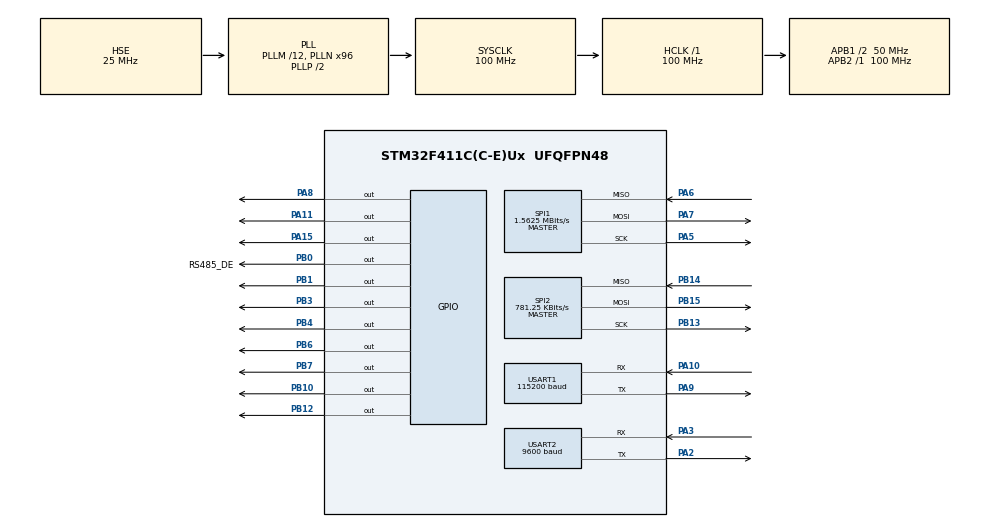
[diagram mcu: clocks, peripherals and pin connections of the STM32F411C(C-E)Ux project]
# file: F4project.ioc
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Dma.Request0=USART1_RX
Dma.Request1=USART1_TX
Dma.USART1_RX.0.Direction=DMA_PERIPH_TO_MEMORY
Dma.USART1_RX.0.FIFOMode=DMA_FIFOMODE_DISABLE
Dma.USART1_RX.0.Instance=DMA2_Stream2
Dma.USART1_RX.0.MemDataAlignment=DMA_MDATAALIGN_BYTE
Dma.USART1_RX.0.MemInc=DMA_MINC_ENABLE
Dma.USART1_RX.0.Mode=DMA_NORMAL
Dma.USART1_RX.0.PeriphDataAlignment=DMA_PDATAALIGN_BYTE
Dma.USART1_RX.0.PeriphInc=DMA_PINC_DISABLE
Dma.USART1_RX.0.Priority=DMA_PRIORITY_LOW
Dma.USART1_TX.1.Direction=DMA_MEMORY_TO_PERIPH
Dma.USART1_TX.1.FIFOMode=DMA_FIFOMODE_DISABLE
Dma.USART1_TX.1.Instance=DMA2_Stream7
Dma.USART1_TX.1.MemDataAlignment=DMA_MDATAALIGN_BYTE
Dma.USART1_TX.1.MemInc=DMA_MINC_ENABLE
Dma.USART1_TX.1.Mode=DMA_NORMAL
Dma.USART1_TX.1.PeriphDataAlignment=DMA_PDATAALIGN_BYTE
Dma.USART1_TX.1.PeriphInc=DMA_PINC_DISABLE
Dma.USART1_TX.1.Priority=DMA_PRIORITY_LOW
FREERTOS.Tasks01=defaultTask,24,128,StartDefaultTask,Default,NULL,Dynamic,NULL,NULL
Mcu.Family=STM32F4
Mcu.Name=STM32F411C(C-E)Ux
Mcu.Package=UFQFPN48
NVIC.DMA2_Stream2_IRQn=true\:5\:0\:false\:false\:true\:true\:false\:true\:true
NVIC.DMA2_Stream7_IRQn=true\:5\:0\:false\:false\:true\:true\:false\:true\:true
NVIC.PriorityGroup=NVIC_PRIORITYGROUP_4
NVIC.TIM3_IRQn=true\:5\:0\:false\:false\:true\:true\:true\:true\:true
NVIC.TIM4_IRQn=true\:15\:0\:false\:false\:true\:false\:false\:true\:true
NVIC.TimeBase=TIM4_IRQn
NVIC.TimeBaseIP=TIM4
NVIC.USART1_IRQn=true\:5\:0\:false\:false\:true\:true\:true\:true\:true
NVIC.USART2_IRQn=true\:5\:0\:false\:false\:true\:true\:true\:true\:true
PA10.Mode=Asynchronous
PA10.Signal=USART1_RX
PA11.Signal=GPIO_Output
PA13.Mode=Serial_Wire
PA13.Signal=SYS_JTMS-SWDIO
PA14.Mode=Serial_Wire
PA14.Signal=SYS_JTCK-SWCLK
PA15.Signal=GPIO_Output
PA2.Mode=Asynchronous
PA2.Signal=USART2_TX
PA3.Mode=Asynchronous
PA3.Signal=USART2_RX
PA5.Mode=Full_Duplex_Master
PA5.Signal=SPI1_SCK
PA6.Mode=Full_Duplex_Master
PA6.Signal=SPI1_MISO
PA7.Mode=Full_Duplex_Master
PA7.Signal=SPI1_MOSI
PA8.Signal=GPIO_Output
PA9.GPIO_PuPd=GPIO_PULLUP
PA9.Mode=Asynchronous
PA9.Signal=USART1_TX
PB0.GPIO_Label=RS485_DE
PB0.Signal=GPIO_Output
PB1.Signal=GPIO_Output
PB10.GPIO_ModeDefaultOutputPP=GPIO_MODE_OUTPUT_PP
PB10.GPIO_PuPd=GPIO_NOPULL
PB10.PinState=GPIO_PIN_SET
PB10.Signal=GPIO_Output
PB12.PinState=GPIO_PIN_SET
PB12.Signal=GPIO_Output
PB13.Mode=Full_Duplex_Master
PB13.Signal=SPI2_SCK
PB14.Mode=Full_Duplex_Master
PB14.Signal=SPI2_MISO
PB15.Mode=Full_Duplex_Master
PB15.Signal=SPI2_MOSI
PB3.PinState=GPIO_PIN_SET
PB3.Signal=GPIO_Output
PB4.PinState=GPIO_PIN_SET
PB4.Signal=GPIO_Output
PB6.GPIO_ModeDefaultOutputPP=GPIO_MODE_OUTPUT_PP
PB6.GPIO_PuPd=GPIO_NOPULL
PB6.PinState=GPIO_PIN_SET
PB6.Signal=GPIO_Output
PB7.GPIO_ModeDefaultOutputPP=GPIO_MODE_OUTPUT_PP
PB7.GPIO_PuPd=GPIO_NOPULL
PB7.PinState=GPIO_PIN_SET
PB7.Signal=GPIO_Output
PH0\ -\ OSC_IN.Mode=HSE-External-Oscillator
PH0\ -\ OSC_IN.Signal=RCC_OSC_IN
PH1\ -\ OSC_OUT.Mode=HSE-External-Oscillator
PH1\ -\ OSC_OUT.Signal=RCC_OSC_OUT
ProjectManager.HeapSize=0x200
ProjectManager.StackSize=0x400
ProjectManager.TargetToolchain=MDK-ARM V5.32
RCC.48MHZClocksFreq_Value=50000000
RCC.AHBFreq_Value=100000000
RCC.APB1CLKDivider=RCC_HCLK_DIV2
RCC.APB1Freq_Value=50000000
RCC.APB1TimFreq_Value=100000000
RCC.APB2Freq_Value=100000000
RCC.APB2TimFreq_Value=100000000
RCC.CortexFreq_Value=100000000
RCC.HCLKFreq_Value=100000000
RCC.HSE_VALUE=25000000
RCC.HSI_VALUE=16000000
RCC.LSE_VALUE=32768
RCC.PLLM=12
RCC.PLLN=96
RCC.PLLSourceVirtual=RCC_PLLSOURCE_HSE
RCC.SYSCLKFreq_VALUE=100000000
RCC.SYSCLKSource=RCC_SYSCLKSOURCE_PLLCLK
RCC.VCOOutputFreq_Value=200000000
SPI1.BaudRatePrescaler=SPI_BAUDRATEPRESCALER_64
SPI1.CalculateBaudRate=1.5625 MBits/s
SPI1.Direction=SPI_DIRECTION_2LINES
SPI1.Mode=SPI_MODE_MASTER
SPI1.VirtualType=VM_MASTER
SPI2.BaudRatePrescaler=SPI_BAUDRATEPRESCALER_64
SPI2.CalculateBaudRate=781.25 KBits/s
SPI2.Direction=SPI_DIRECTION_2LINES
SPI2.Mode=SPI_MODE_MASTER
SPI2.VirtualType=VM_MASTER
TIM3.Period=1000-1
TIM3.Prescaler=100-1
USART1.BaudRate=115200
USART1.VirtualMode=VM_ASYNC
USART2.BaudRate=9600
USART2.VirtualMode=VM_ASYNC
VP_FREERTOS_VS_CMSIS_V2.Mode=CMSIS_V2
VP_SYS_VS_tim4.Mode=TIM4
VP_TIM3_VS_ClockSourceINT.Mode=Internal
board=custom

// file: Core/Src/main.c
/* USER CODE BEGIN Header */
/**
  ******************************************************************************
  * @file           : main.c
  * @brief          : Main program body
  ******************************************************************************
  * @attention
  *
  * Copyright (c) 2026 STMicroelectronics.
  * All rights reserved.
  *
  * This software is licensed under terms that can be found in the LICENSE file
  * in the root directory of this software component.
  * If no LICENSE file comes with this software, it is provided AS-IS.
  *
  ******************************************************************************
  */
/* USER CODE END Header */
#include "main.h"
#include "cmsis_os.h"
#include "dma.h"
#include "spi.h"
#include "tim.h"
#include "usart.h"
#include "gpio.h"

/* USER CODE BEGIN Includes */
#include "lcd.h"
#include "touch.h"
#include "stdio.h"
#include "string.h"
#include "lvgl.h"
#include "lv_port_disp.h"
#include "lv_port_indev.h"
#include "page_main.h"
#include "modbus.h"
#include "command.h"
#include "ESP_at.h"
#include "libemqtt.h"
#include "pal.h"
#include "Taskhandel.h"
#include "queue.h"
#include "semphr.h"
#include "bsp_flash.h"
#include "flash.h"
/* USER CODE END Includes */

/* USER CODE BEGIN PD */
extern DMA_HandleTypeDef hdma_usart1_rx;
/* USER CODE END PD */

void SystemClock_Config(void);
void MX_FREERTOS_Init(void);
/* USER CODE BEGIN PFP */
extern UART_HandleTypeDef huart2;
extern DMA_HandleTypeDef hdma_usart2_rx;
extern DMA_HandleTypeDef hdma_usart2_tx;

extern QueueHandle_t data_queue;
extern SemaphoreHandle_t uart1_mutex;
extern QueueHandle_t lvgl_data_queue;
uint8_t a[20];

/* USER CODE END PFP */

/* USER CODE BEGIN 0 */
/* USER CODE BEGIN 0 */
// ??????????(????)

/* USER CODE END 0 */

int main(void)
{

  /* MCU Configuration--------------------------------------------------------*/

  /* Reset of all peripherals, Initializes the Flash interface and the Systick. */
  HAL_Init();

  /* Configure the system clock */
  SystemClock_Config();

  /* USER CODE BEGIN SysInit */
//SysTick_Config(SystemCoreClock / 1000);
  /* USER CODE END SysInit */

  /* Initialize all configured peripherals */
  MX_GPIO_Init();
  MX_DMA_Init();
  MX_SPI1_Init();
  MX_USART2_UART_Init();
  MX_TIM3_Init();
  MX_USART1_UART_Init();
  MX_SPI2_Init();
  /* USER CODE BEGIN 2 */
	SPI_FLASH_Init();       // 使能 SPI + 配置 CS
	HAL_TIM_Base_Start_IT(&htim3);

	FlashCache_Init();
	RS485_RX;
	HAL_UARTEx_ReceiveToIdle_DMA(&huart1,a,sizeof(a));					//DMA接收空闲中断(ESP8266传数据到MCU 并放在环形缓冲区)
	__HAL_DMA_DISABLE_IT(&hdma_usart1_rx,DMA_IT_HT);						//关闭过半中断

/* USER CODE BEGIN 2 */

/* USER CODE BEGIN 2 */

// 创建队列：最多存 1 条温湿度数据 覆盖式写入
data_queue = xQueueCreate(1, sizeof(Data_t));
uart1_mutex =xSemaphoreCreateMutex();							//创建互斥锁 （谁上锁 谁才能开锁）
lvgl_data_queue= xQueueCreate(1, sizeof(Data_t));
  /* USER CODE END 2 */

  /* Init scheduler */
  osKernelInitialize();  /* Call init function for freertos objects (in cmsis_os2.c) */
  MX_FREERTOS_Init();

  /* Start scheduler */
  osKernelStart();				//开启调度 不往下面执行了

  /* We should never get here as control is now taken by the scheduler */

  /* Infinite loop */
  /* USER CODE BEGIN WHILE */
/* USER CODE BEGIN WHILE */
while (1)
{
	/* USER CODE BEGIN WHILE */

    /* USER CODE END WHILE */

  }
}

void SystemClock_Config(void)
{
  RCC_OscInitTypeDef RCC_OscInitStruct = {0};
  RCC_ClkInitTypeDef RCC_ClkInitStruct = {0};

  /** Configure the main internal regulator output voltage
  */
  __HAL_RCC_PWR_CLK_ENABLE();
  __HAL_PWR_VOLTAGESCALING_CONFIG(PWR_REGULATOR_VOLTAGE_SCALE1);

  /** Initializes the RCC Oscillators according to the specified parameters
  * in the RCC_OscInitTypeDef structure.
  */
  RCC_OscInitStruct.OscillatorType = RCC_OSCILLATORTYPE_HSE;
  RCC_OscInitStruct.HSEState = RCC_HSE_ON;
  RCC_OscInitStruct.PLL.PLLState = RCC_PLL_ON;
  RCC_OscInitStruct.PLL.PLLSource = RCC_PLLSOURCE_HSE;
  RCC_OscInitStruct.PLL.PLLM = 12;
  RCC_OscInitStruct.PLL.PLLN = 96;
  RCC_OscInitStruct.PLL.PLLP = RCC_PLLP_DIV2;
  RCC_OscInitStruct.PLL.PLLQ = 4;
  if (HAL_RCC_OscConfig(&RCC_OscInitStruct) != HAL_OK)
  {
    Error_Handler();
  }

  /** Initializes the CPU, AHB and APB buses clocks
  */
  RCC_ClkInitStruct.ClockType = RCC_CLOCKTYPE_HCLK|RCC_CLOCKTYPE_SYSCLK
                              |RCC_CLOCKTYPE_PCLK1|RCC_CLOCKTYPE_PCLK2;
  RCC_ClkInitStruct.SYSCLKSource = RCC_SYSCLKSOURCE_PLLCLK;
  RCC_ClkInitStruct.AHBCLKDivider = RCC_SYSCLK_DIV1;
  RCC_ClkInitStruct.APB1CLKDivider = RCC_HCLK_DIV2;
  RCC_ClkInitStruct.APB2CLKDivider = RCC_HCLK_DIV1;

  if (HAL_RCC_ClockConfig(&RCC_ClkInitStruct, FLASH_LATENCY_3) != HAL_OK)
  {
    Error_Handler();
  }
}

void HAL_TIM_PeriodElapsedCallback(TIM_HandleTypeDef *htim)
{
  /* USER CODE BEGIN Callback 0 */

	if(htim==&htim3)									//lvgl的心跳函数
	{
		lv_tick_inc(1);
	}
  /* USER CODE END Callback 0 */
  if (htim->Instance == TIM4)								//hal库的时基
  {
    HAL_IncTick();
  }
}

void Error_Handler(void)
{
  __disable_irq();
  while (1)
  {
  }
}
#ifdef USE_FULL_ASSERT
/**
  * @brief  Reports the name of the source file and the source line number
  *         where the assert_param error has occurred.
  * @param  file: pointer to the source file name
  * @param  line: assert_param error line source number
  * @retval None
  */
void assert_failed(uint8_t *file, uint32_t line)
{
  /* USER CODE BEGIN 6 */
  /* User can add his own implementation to report the file name and line number,
     ex: u1_printf("Wrong parameters value: file %s on line %d\r\n", file, line) */
  /* USER CODE END 6 */
}
#endif /* USE_FULL_ASSERT */

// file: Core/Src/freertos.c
/* USER CODE BEGIN Header */
/**
  ******************************************************************************
  * File Name          : freertos.c
  * Description        : Code for freertos applications
  ******************************************************************************
  * @attention
  *
  * Copyright (c) 2026 STMicroelectronics.
  * All rights reserved.
  *
  * This software is licensed under terms that can be found in the LICENSE file
  * in the root directory of this software component.
  * If no LICENSE file comes with this software, it is provided AS-IS.
  *
  ******************************************************************************
  */
/* USER CODE END Header */

#include "FreeRTOS.h"
#include "task.h"
#include "main.h"
#include "cmsis_os.h"

/* USER CODE BEGIN Includes */
#include "lcd.h"
#include "touch.h"
#include "stdio.h"
#include "string.h"
#include "lvgl.h"
#include "lv_port_disp.h"
#include "lv_port_indev.h"
#include "page_main.h"
#include "modbus.h"
#include "command.h"
#include "ESP_at.h"
#include "libemqtt.h"
#include "pal.h"
#include "Taskhandel.h"
/* USER CODE END Includes */

/* Definitions for defaultTask */
osThreadId_t defaultTaskHandle;
const osThreadAttr_t defaultTask_attributes = {
  .name = "defaultTask",
  .stack_size = 128 * 4,
  .priority = (osPriority_t) osPriorityNormal,
};

void StartDefaultTask(void *argument);

void MX_FREERTOS_Init(void); /* (MISRA C 2004 rule 8.1) */

void MX_FREERTOS_Init(void) {

  /* Create the thread(s) */
  /* creation of defaultTask */
  defaultTaskHandle = osThreadNew(StartDefaultTask, NULL, &defaultTask_attributes);

}

void StartDefaultTask(void *argument)					//默认初始任务
{
  /* USER CODE BEGIN StartDefaultTask */

		//  任务函数  任务的名字  栈大小,单位为word  调用任务函数时传入的参数  优先级  任务句柄, 以后使用它来操作这个任务

  // UI 任务(LVGL) 栈必须大！优先级最高
  xTaskCreate(UI, "UITask", 1024, NULL, osPriorityAboveNormal, NULL);

  // Modbus 任务
  xTaskCreate(Modbus, "SensorTask", 512, NULL, osPriorityNormal, NULL);

	  // 网络 AT 任务
  xTaskCreate(AT, "NetworkTask", 512, NULL, osPriorityNormal, NULL);

  // MQTT 任务
  xTaskCreate(MQTT, "MQTTTask", 512, NULL, osPriorityNormal, NULL);

  // ========================
  // 创建完成，删除自身
  // ========================
  vTaskDelete(NULL);

  // 下面永远不会执行

  /* Infinite loop */
  for(;;)
  {

    osDelay(1);
  }
  /* USER CODE END StartDefaultTask */
}
